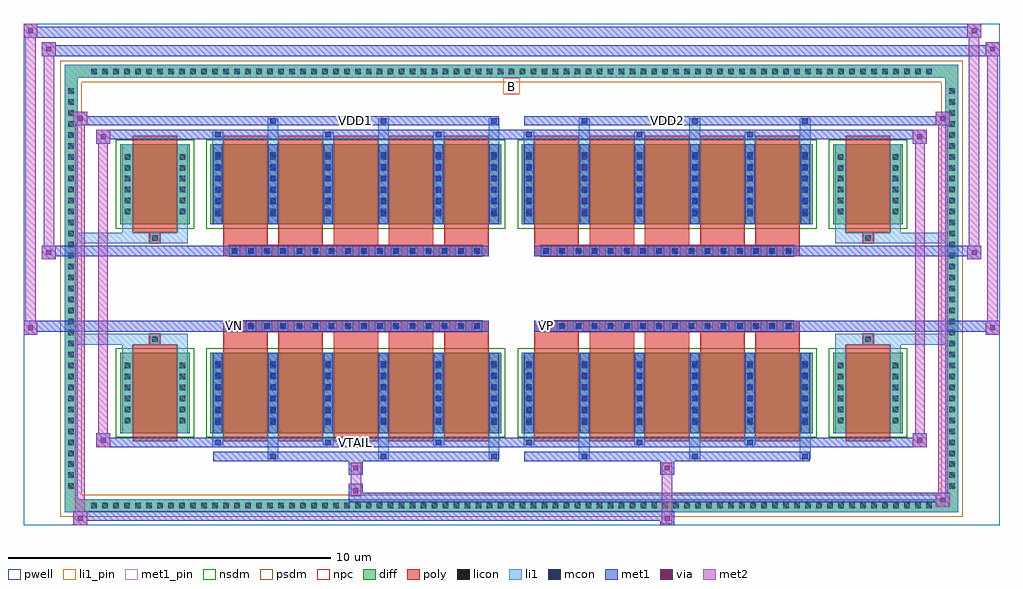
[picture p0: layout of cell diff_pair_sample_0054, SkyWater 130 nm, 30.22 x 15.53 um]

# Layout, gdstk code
import gdstk
lib = gdstk.Library(unit=1e-6, precision=5e-09)
def R(c, l, rs):  # rectangles x0, y0, x1, y1
    for r in rs: c.add(gdstk.rectangle(r[:2], r[2:], *l))
def A(c, l, x, y, w, h, nx, ny, dx, dy):  # array of equal rectangles
    R(c, l, [(x+i*dx, y+j*dy, x+i*dx+w, y+j*dy+h) for i in range(nx) for j in range(ny)])
def P(c, l, *ps):  # polygons
    for p in ps: c.add(gdstk.Polygon(p, *l))
pwell = (64, 44)
diff = (65, 20)
poly = (66, 20)
licon = (66, 44)
li1_pin = (67, 16)
li1 = (67, 20)
mcon = (67, 44)
met1_pin = (68, 16)
met1 = (68, 20)
via = (68, 44)
met2 = (69, 20)
nsdm = (93, 44)
psdm = (94, 20)
npc = (95, 20)

diff_pair_sample_0054 = lib.new_cell('diff_pair_sample_0054')
R(diff_pair_sample_0054, pwell, [(-15.11,-7.33,15.11,8.2), (-12.43,-5.52,-0.01,-0.8), (0.01,-5.52,12.43,-0.8), (-12.43,0.8,-0.01,5.52), (0.01,0.8,12.43,5.52)])
A(diff_pair_sample_0054, diff, -13.125, -6.93, 0.41, 0.41, 77, 2, 0.34, 13.45)
A(diff_pair_sample_0054, diff, -13.84, -6.325, 0.41, 0.41, 1, 37, 0, 0.34)
A(diff_pair_sample_0054, diff, 13.43, -6.325, 0.41, 0.41, 1, 37, 0, 0.34)
R(diff_pair_sample_0054, diff, [(-13.125,-6.93,13.125,-6.52), (-13.84,-6.325,-13.43,6.325), (13.43,-6.325,13.84,6.325), (-12.12,-4.475,-9.96,-1.985), (-9.32,-4.475,-0.32,-1.985), (0.32,-4.475,9.32,-1.985), (9.96,-4.475,12.12,-1.985), (-12.12,1.985,-9.96,4.475), (-9.32,1.985,-0.32,4.475), (0.32,1.985,9.32,4.475), (9.96,1.985,12.12,4.475), (-13.125,6.52,13.125,6.93)])
P(diff_pair_sample_0054, diff, [(13.84,6.93),(-13.84,6.93),(-13.84,-6.52),(-13.43,-6.52),(-13.43,6.52),(13.43,6.52),(13.43,-6.52),(-13.43,-6.52),(-13.84,-6.52),(-13.84,-6.93),(13.84,-6.93)])
A(diff_pair_sample_0054, poly, -8.93, -4.725, 1.38, 2.99, 5, 2, 1.71, 6.46)
A(diff_pair_sample_0054, poly, 0.71, -4.725, 1.38, 2.99, 5, 2, 1.71, 6.46)
A(diff_pair_sample_0054, poly, -8.93, -1.735, 1.38, 0.405, 5, 2, 1.71, 3.065)
A(diff_pair_sample_0054, poly, 0.71, -1.735, 1.38, 0.405, 5, 2, 1.71, 3.065)
A(diff_pair_sample_0054, poly, -8.735, -1.33, 0.33, 0.33, 16, 2, 0.5, 2.33)
A(diff_pair_sample_0054, poly, 0.905, -1.33, 0.33, 0.33, 16, 2, 0.5, 2.33)
R(diff_pair_sample_0054, poly, [(-11.73,-4.725,-10.35,-1.735), (10.35,-4.725,11.73,-1.735), (-11.205,-1.735,-10.875,-1.405), (-11.205,-1.735,-10.875,-1.405), (10.875,-1.735,11.205,-1.405), (10.875,-1.735,11.205,-1.405), (-8.93,-1.33,-0.71,-1), (0.71,-1.33,8.93,-1), (-8.93,1,-0.71,1.33), (0.71,1,8.93,1.33), (-11.205,1.405,-10.875,1.735), (-11.205,1.405,-10.875,1.735), (10.875,1.405,11.205,1.735), (10.875,1.405,11.205,1.735), (-11.73,1.735,-10.35,4.725), (10.35,1.735,11.73,4.725)])
A(diff_pair_sample_0054, licon, -13.005, -6.81, 0.17, 0.17, 77, 2, 0.34, 13.45)
A(diff_pair_sample_0054, licon, -13.72, -6.205, 0.17, 0.17, 1, 37, 0, 0.34)
A(diff_pair_sample_0054, licon, 13.55, -6.205, 0.17, 0.17, 1, 37, 0, 0.34)
A(diff_pair_sample_0054, licon, -11.98, -4.165, 0.17, 0.17, 1, 6, 0, 0.34)
A(diff_pair_sample_0054, licon, -10.27, -4.165, 0.17, 0.17, 1, 6, 0, 0.34)
A(diff_pair_sample_0054, licon, -9.18, -4.165, 0.17, 0.17, 6, 6, 1.71, 0.34)
A(diff_pair_sample_0054, licon, 0.46, -4.165, 0.17, 0.17, 6, 6, 1.71, 0.34)
A(diff_pair_sample_0054, licon, 10.1, -4.165, 0.17, 0.17, 1, 6, 0, 0.34)
A(diff_pair_sample_0054, licon, 11.81, -4.165, 0.17, 0.17, 1, 6, 0, 0.34)
A(diff_pair_sample_0054, licon, -8.655, -1.25, 0.17, 0.17, 16, 2, 0.5, 2.33)
A(diff_pair_sample_0054, licon, 0.985, -1.25, 0.17, 0.17, 16, 2, 0.5, 2.33)
A(diff_pair_sample_0054, licon, -11.98, 2.295, 0.17, 0.17, 1, 6, 0, 0.34)
A(diff_pair_sample_0054, licon, -10.27, 2.295, 0.17, 0.17, 1, 6, 0, 0.34)
A(diff_pair_sample_0054, licon, -9.18, 2.295, 0.17, 0.17, 6, 6, 1.71, 0.34)
A(diff_pair_sample_0054, licon, 0.46, 2.295, 0.17, 0.17, 6, 6, 1.71, 0.34)
A(diff_pair_sample_0054, licon, 10.1, 2.295, 0.17, 0.17, 1, 6, 0, 0.34)
A(diff_pair_sample_0054, licon, 11.81, 2.295, 0.17, 0.17, 1, 6, 0, 0.34)
R(diff_pair_sample_0054, licon, [(-11.125,-1.655,-10.955,-1.485), (10.955,-1.655,11.125,-1.485), (-11.125,1.485,-10.955,1.655), (10.955,1.485,11.125,1.655)])
R(diff_pair_sample_0054, li1_pin, [(-0.25,6.02,0.25,6.52)])
A(diff_pair_sample_0054, li1, -13.085, -6.89, 0.33, 0.33, 77, 2, 0.34, 13.45)
A(diff_pair_sample_0054, li1, -13.8, -6.285, 0.33, 0.33, 1, 37, 0, 0.34)
A(diff_pair_sample_0054, li1, 13.47, -6.285, 0.33, 0.33, 1, 37, 0, 0.34)
A(diff_pair_sample_0054, li1, -7.55, -5.28, 0.33, 0.805, 3, 2, 3.42, 9.755)
A(diff_pair_sample_0054, li1, -7.47, -5.28, 0.17, 0.17, 3, 2, 3.42, 10.39)
A(diff_pair_sample_0054, li1, 2.09, -5.28, 0.33, 0.805, 3, 2, 3.42, 9.755)
A(diff_pair_sample_0054, li1, 2.17, -5.28, 0.17, 0.17, 3, 2, 3.42, 10.39)
A(diff_pair_sample_0054, li1, -9.26, -4.85, 0.33, 0.375, 3, 2, 3.42, 9.325)
A(diff_pair_sample_0054, li1, -9.18, -4.85, 0.17, 0.17, 3, 2, 3.42, 9.53)
A(diff_pair_sample_0054, li1, 0.38, -4.85, 0.33, 0.375, 3, 2, 3.42, 9.325)
A(diff_pair_sample_0054, li1, 0.46, -4.85, 0.17, 0.17, 3, 2, 3.42, 9.53)
A(diff_pair_sample_0054, li1, -9.26, -4.475, 0.33, 2.49, 6, 2, 1.71, 6.46)
A(diff_pair_sample_0054, li1, 0.38, -4.475, 0.33, 2.49, 6, 2, 1.71, 6.46)
A(diff_pair_sample_0054, li1, -12.06, -4.245, 0.33, 0.33, 1, 6, 0, 0.34)
A(diff_pair_sample_0054, li1, -10.35, -4.245, 0.33, 0.33, 1, 6, 0, 0.34)
A(diff_pair_sample_0054, li1, -9.26, -4.245, 0.33, 0.33, 6, 6, 1.71, 0.34)
A(diff_pair_sample_0054, li1, 0.38, -4.245, 0.33, 0.33, 6, 6, 1.71, 0.34)
A(diff_pair_sample_0054, li1, 10.02, -4.245, 0.33, 0.33, 1, 6, 0, 0.34)
A(diff_pair_sample_0054, li1, 11.73, -4.245, 0.33, 0.33, 1, 6, 0, 0.34)
A(diff_pair_sample_0054, li1, -9.18, -4.215, 0.17, 0.17, 6, 6, 1.71, 0.36)
A(diff_pair_sample_0054, li1, -9.18, -4.215, 0.17, 1.97, 6, 2, 1.71, 6.46)
A(diff_pair_sample_0054, li1, 0.46, -4.215, 0.17, 0.17, 6, 6, 1.71, 0.36)
A(diff_pair_sample_0054, li1, 0.46, -4.215, 0.17, 1.97, 6, 2, 1.71, 6.46)
A(diff_pair_sample_0054, li1, -8.735, -1.33, 0.33, 0.33, 16, 2, 0.5, 2.33)
A(diff_pair_sample_0054, li1, 0.905, -1.33, 0.33, 0.33, 16, 2, 0.5, 2.33)
A(diff_pair_sample_0054, li1, -12.06, 2.215, 0.33, 0.33, 1, 6, 0, 0.34)
A(diff_pair_sample_0054, li1, -10.35, 2.215, 0.33, 0.33, 1, 6, 0, 0.34)
A(diff_pair_sample_0054, li1, -9.26, 2.215, 0.33, 0.33, 6, 6, 1.71, 0.34)
A(diff_pair_sample_0054, li1, 0.38, 2.215, 0.33, 0.33, 6, 6, 1.71, 0.34)
A(diff_pair_sample_0054, li1, 10.02, 2.215, 0.33, 0.33, 1, 6, 0, 0.34)
A(diff_pair_sample_0054, li1, 11.73, 2.215, 0.33, 0.33, 1, 6, 0, 0.34)
A(diff_pair_sample_0054, li1, -9.18, 2.245, 0.17, 0.17, 6, 6, 1.71, 0.36)
A(diff_pair_sample_0054, li1, 0.46, 2.245, 0.17, 0.17, 6, 6, 1.71, 0.36)
R(diff_pair_sample_0054, li1, [(-13.84,-6.93,-13.43,-6.52), (-13.84,-6.93,-13.43,-6.52), (-13.43,-6.93,13.43,-6.52), (13.43,-6.93,13.84,-6.52), (13.43,-6.93,13.84,-6.52), (-13.84,-6.52,-13.43,6.52), (13.43,-6.52,13.84,6.52), (-12.06,-4.475,-11.73,-1.985), (-10.35,-4.475,-10.02,-1.985), (10.02,-4.475,10.35,-1.985), (11.73,-4.475,12.06,-1.985), (-12.06,-1.985,-11.73,-1.405), (-10.35,-1.985,-10.02,-1.405), (10.02,-1.985,10.35,-1.405), (11.73,-1.985,12.06,-1.405), (-13.84,-1.735,-11.205,-1.405), (-12.06,-1.735,-11.205,-1.405), (-11.205,-1.735,-10.875,-1.405), (-10.875,-1.735,-10.02,-1.405), (10.02,-1.735,10.875,-1.405), (10.875,-1.735,11.205,-1.405), (10.875,-1.735,13.84,-1.405), (11.205,-1.735,12.06,-1.405), (-13.84,1.405,-11.205,1.735), (-12.06,1.405,-11.205,1.735), (-12.06,1.405,-11.73,1.985), (-11.205,1.405,-10.875,1.735), (-10.875,1.405,-10.02,1.735), (-10.35,1.405,-10.02,1.985), (10.02,1.405,10.875,1.735), (10.02,1.405,10.35,1.985), (10.875,1.405,11.205,1.735), (10.875,1.405,13.84,1.735), (11.205,1.405,12.06,1.735), (11.73,1.405,12.06,1.985), (-12.06,1.985,-11.73,4.475), (-10.35,1.985,-10.02,4.475), (10.02,1.985,10.35,4.475), (11.73,1.985,12.06,4.475), (-13.84,6.52,-13.43,6.93), (-13.84,6.52,-13.43,6.93), (-13.43,6.52,13.43,6.93), (13.43,6.52,13.84,6.93), (13.43,6.52,13.84,6.93)])
A(diff_pair_sample_0054, mcon, -7.47, -5.28, 0.17, 0.17, 3, 2, 3.42, 10.39)
A(diff_pair_sample_0054, mcon, 2.17, -5.28, 0.17, 0.17, 3, 2, 3.42, 10.39)
A(diff_pair_sample_0054, mcon, -9.18, -4.85, 0.17, 0.17, 3, 2, 3.42, 9.53)
A(diff_pair_sample_0054, mcon, 0.46, -4.85, 0.17, 0.17, 3, 2, 3.42, 9.53)
A(diff_pair_sample_0054, mcon, -9.18, -4.215, 0.17, 0.17, 6, 6, 1.71, 0.36)
A(diff_pair_sample_0054, mcon, 0.46, -4.215, 0.17, 0.17, 6, 6, 1.71, 0.36)
A(diff_pair_sample_0054, mcon, -8.655, -1.25, 0.17, 0.17, 16, 2, 0.5, 2.33)
A(diff_pair_sample_0054, mcon, 0.985, -1.25, 0.17, 0.17, 16, 2, 0.5, 2.33)
A(diff_pair_sample_0054, mcon, -9.18, 2.245, 0.17, 0.17, 6, 6, 1.71, 0.36)
A(diff_pair_sample_0054, mcon, 0.46, 2.245, 0.17, 0.17, 6, 6, 1.71, 0.36)
R(diff_pair_sample_0054, met1_pin, [(-4.955,-4.89,-4.685,-4.62), (-8.705,-1.29,-8.435,-1.02), (0.935,-1.29,1.205,-1.02), (-4.955,5.07,-4.685,5.34), (4.685,5.07,4.955,5.34)])
A(diff_pair_sample_0054, met1, -7.53, -5.34, 0.29, 0.29, 3, 2, 3.42, 10.39)
A(diff_pair_sample_0054, met1, 2.11, -5.34, 0.29, 0.29, 3, 2, 3.42, 10.39)
A(diff_pair_sample_0054, met1, -9.24, -4.91, 0.29, 0.29, 3, 2, 3.42, 9.53)
A(diff_pair_sample_0054, met1, 0.4, -4.91, 0.29, 0.29, 3, 2, 3.42, 9.53)
A(diff_pair_sample_0054, met1, -9.24, -4.475, 0.29, 2.49, 6, 2, 1.71, 6.46)
A(diff_pair_sample_0054, met1, 0.4, -4.475, 0.29, 2.49, 6, 2, 1.71, 6.46)
A(diff_pair_sample_0054, met1, -9.24, -4.275, 0.29, 0.29, 6, 6, 1.71, 0.36)
A(diff_pair_sample_0054, met1, 0.4, -4.275, 0.29, 0.29, 6, 6, 1.71, 0.36)
A(diff_pair_sample_0054, met1, -8.715, -1.31, 0.29, 0.29, 16, 2, 0.5, 2.33)
A(diff_pair_sample_0054, met1, 0.925, -1.31, 0.29, 0.29, 16, 2, 0.5, 2.33)
A(diff_pair_sample_0054, met1, -9.24, 2.185, 0.29, 0.29, 6, 6, 1.71, 0.36)
A(diff_pair_sample_0054, met1, 0.4, 2.185, 0.29, 0.29, 6, 6, 1.71, 0.36)
R(diff_pair_sample_0054, met1, [(-13.57,-7.33,-13.14,-6.9), (4.605,-7.33,5.035,-6.9), (-13.57,-7.19,5.035,-6.9), (13.14,-6.76,13.57,-6.33), (-5.035,-6.62,13.57,-6.33), (-5.035,-6.48,-4.605,-6.05), (-5.035,-5.77,-4.605,-5.34), (4.605,-5.77,5.035,-5.34), (-9.24,-5.34,-0.4,-5.05), (0.4,-5.34,9.24,-5.05), (-12.86,-4.91,-12.43,-4.48), (-12.86,-4.91,-9.24,-4.62), (-9.24,-4.91,-0.4,-4.62), (-0.4,-4.91,0.4,-4.62), (0.4,-4.91,9.24,-4.62), (9.24,-4.91,12.86,-4.62), (12.43,-4.91,12.86,-4.48), (-15.11,-1.43,-14.68,-1), (14.68,-1.43,15.11,-1), (-15.11,-1.33,-0.71,-1), (-8.93,-1.33,-0.71,-1), (0.71,-1.33,8.93,-1), (0.71,-1.33,15.11,-1), (-14.54,0.9,-14.11,1.33), (14.11,0.9,14.54,1.33), (-14.54,1,-8.93,1.33), (-8.93,1,-0.71,1.33), (0.71,1,8.93,1.33), (8.93,1,14.54,1.33), (-12.86,4.48,-12.43,4.91), (12.43,4.48,12.86,4.91), (-12.86,4.62,-9.24,4.91), (-9.24,4.62,-0.4,4.91), (-0.4,4.62,0.4,4.91), (0.4,4.62,9.24,4.91), (9.24,4.62,12.86,4.91), (-13.57,5.05,-13.14,5.48), (-13.57,5.05,-9.24,5.34), (-9.24,5.05,-0.4,5.34), (0.4,5.05,9.24,5.34), (9.24,5.05,13.57,5.34), (13.14,5.05,13.57,5.48), (-14.54,7.2,-14.11,7.63), (-14.54,7.2,-12.43,7.53), (-12.43,7.2,12.43,7.53), (12.43,7.2,15.11,7.53), (14.68,7.2,15.11,7.63), (-15.11,7.77,-14.68,8.2), (-15.11,7.77,-12.43,8.1), (-12.43,7.77,12.43,8.1), (12.43,7.77,14.54,8.1), (14.11,7.77,14.54,8.2)])
R(diff_pair_sample_0054, via, [(-13.43,-7.19,-13.28,-7.04), (4.745,-7.19,4.895,-7.04), (13.28,-6.62,13.43,-6.47), (-4.895,-6.34,-4.745,-6.19), (-4.895,-5.63,-4.745,-5.48), (4.745,-5.63,4.895,-5.48), (-12.72,-4.77,-12.57,-4.62), (12.57,-4.77,12.72,-4.62), (-14.97,-1.29,-14.82,-1.14), (14.82,-1.29,14.97,-1.14), (-14.4,1.04,-14.25,1.19), (14.25,1.04,14.4,1.19), (-12.72,4.62,-12.57,4.77), (12.57,4.62,12.72,4.77), (-13.43,5.19,-13.28,5.34), (13.28,5.19,13.43,5.34), (-14.4,7.34,-14.25,7.49), (14.82,7.34,14.97,7.49), (-14.97,7.91,-14.82,8.06), (14.25,7.91,14.4,8.06)])
R(diff_pair_sample_0054, met2, [(-13.57,-7.33,-13.14,-6.9), (-13.5,-7.33,-13.21,5.48), (-13.21,-7.33,-13.14,-6.9), (-13.52,-7.28,-13.19,-6.95), (4.655,-7.28,4.985,-6.95), (4.655,-6.95,4.985,-5.72), (13.14,-6.76,13.57,-6.33), (13.21,-6.76,13.5,5.48), (13.5,-6.76,13.57,-6.33), (13.19,-6.71,13.52,-6.38), (-4.985,-6.43,-4.655,-6.1), (-4.985,-6.1,-4.655,-5.72), (-4.985,-5.72,-4.655,-5.39), (4.655,-5.72,4.985,-5.39), (-12.86,-4.91,-12.43,-4.48), (-12.79,-4.91,-12.5,4.91), (-12.5,-4.91,-12.43,-4.48), (12.43,-4.91,12.86,-4.48), (12.5,-4.91,12.79,4.91), (12.79,-4.91,12.86,-4.48), (-12.81,-4.86,-12.48,-4.53), (12.48,-4.86,12.81,-4.53), (-15.11,-1.43,-14.68,-1), (-15.06,-1.43,-14.73,8.2), (-14.73,-1.43,-14.68,-1), (14.68,-1.43,15.11,-1), (14.73,-1.43,15.06,7.63), (15.06,-1.43,15.11,-1), (-15.06,-1.38,-14.73,-1.05), (14.73,-1.38,15.06,-1.05), (-14.54,0.9,-14.11,1.33), (-14.49,0.9,-14.16,7.63), (-14.16,0.9,-14.11,1.33), (14.11,0.9,14.54,1.33), (14.16,0.9,14.49,8.2), (14.49,0.9,14.54,1.33), (-14.49,0.95,-14.16,1.28), (14.16,0.95,14.49,1.28), (-12.86,4.48,-12.43,4.91), (-12.5,4.48,-12.43,4.91), (12.43,4.48,12.86,4.91), (12.79,4.48,12.86,4.91), (-12.81,4.53,-12.48,4.86), (12.48,4.53,12.81,4.86), (-13.57,5.05,-13.14,5.48), (-13.21,5.05,-13.14,5.48), (13.14,5.05,13.57,5.48), (13.5,5.05,13.57,5.48), (-13.52,5.1,-13.19,5.43), (13.19,5.1,13.52,5.43), (-14.54,7.2,-14.11,7.63), (-14.16,7.2,-14.11,7.63), (14.68,7.2,15.11,7.63), (15.06,7.2,15.11,7.63), (-14.49,7.25,-14.16,7.58), (14.73,7.25,15.06,7.58), (-15.11,7.77,-14.68,8.2), (-14.73,7.77,-14.68,8.2), (14.11,7.77,14.54,8.2), (14.49,7.77,14.54,8.2), (-15.06,7.82,-14.73,8.15), (14.16,7.82,14.49,8.15)])
R(diff_pair_sample_0054, nsdm, [(-12.25,-4.605,-9.83,-1.855), (-9.45,-4.605,-0.19,-1.855), (0.19,-4.605,9.45,-1.855), (9.83,-4.605,12.25,-1.855), (-12.25,1.855,-9.83,4.605), (-9.45,1.855,-0.19,4.605), (0.19,1.855,9.45,4.605), (9.83,1.855,12.25,4.605)])
P(diff_pair_sample_0054, psdm, [(13.97,7.06),(-13.97,7.06),(-13.97,-6.39),(-13.3,-6.39),(-13.3,6.39),(13.3,6.39),(13.3,-6.39),(-13.3,-6.39),(-13.97,-6.39),(-13.97,-7.06),(13.97,-7.06)])
A(diff_pair_sample_0054, npc, -8.755, -1.35, 0.37, 0.37, 16, 2, 0.5, 2.33)
A(diff_pair_sample_0054, npc, 0.885, -1.35, 0.37, 0.37, 16, 2, 0.5, 2.33)
R(diff_pair_sample_0054, npc, [(-11.225,-1.755,-10.855,-1.385), (10.855,-1.755,11.225,-1.385), (-8.755,-1.35,-7.885,-0.98), (-8.755,-1.35,-7.885,-0.98), (-8.255,-1.35,-7.385,-0.98), (-8.255,-1.35,-7.385,-0.98), (-7.755,-1.35,-6.885,-0.98), (-7.755,-1.35,-6.885,-0.98), (-7.255,-1.35,-6.385,-0.98), (-7.255,-1.35,-6.385,-0.98), (-6.755,-1.35,-5.885,-0.98), (-6.755,-1.35,-5.885,-0.98), (-6.255,-1.35,-5.385,-0.98), (-6.255,-1.35,-5.385,-0.98), (-5.755,-1.35,-4.885,-0.98), (-5.755,-1.35,-4.885,-0.98), (-5.255,-1.35,-4.385,-0.98), (-5.255,-1.35,-4.385,-0.98), (-4.755,-1.35,-3.885,-0.98), (-4.755,-1.35,-3.885,-0.98), (-4.255,-1.35,-3.385,-0.98), (-4.255,-1.35,-3.385,-0.98), (-3.755,-1.35,-2.885,-0.98), (-3.755,-1.35,-2.885,-0.98), (-3.255,-1.35,-2.385,-0.98), (-3.255,-1.35,-2.385,-0.98), (-2.755,-1.35,-1.885,-0.98), (-2.755,-1.35,-1.885,-0.98), (-2.255,-1.35,-1.385,-0.98), (-2.255,-1.35,-1.385,-0.98), (-1.755,-1.35,-0.885,-0.98), (-1.755,-1.35,-0.885,-0.98), (0.885,-1.35,1.755,-0.98), (0.885,-1.35,1.755,-0.98), (1.385,-1.35,2.255,-0.98), (1.385,-1.35,2.255,-0.98), (1.885,-1.35,2.755,-0.98), (1.885,-1.35,2.755,-0.98), (2.385,-1.35,3.255,-0.98), (2.385,-1.35,3.255,-0.98), (2.885,-1.35,3.755,-0.98), (2.885,-1.35,3.755,-0.98), (3.385,-1.35,4.255,-0.98), (3.385,-1.35,4.255,-0.98), (3.885,-1.35,4.755,-0.98), (3.885,-1.35,4.755,-0.98), (4.385,-1.35,5.255,-0.98), (4.385,-1.35,5.255,-0.98), (4.885,-1.35,5.755,-0.98), (4.885,-1.35,5.755,-0.98), (5.385,-1.35,6.255,-0.98), (5.385,-1.35,6.255,-0.98), (5.885,-1.35,6.755,-0.98), (5.885,-1.35,6.755,-0.98), (6.385,-1.35,7.255,-0.98), (6.385,-1.35,7.255,-0.98), (6.885,-1.35,7.755,-0.98), (6.885,-1.35,7.755,-0.98), (7.385,-1.35,8.255,-0.98), (7.385,-1.35,8.255,-0.98), (7.885,-1.35,8.755,-0.98), (7.885,-1.35,8.755,-0.98), (-8.755,0.98,-7.885,1.35), (-8.755,0.98,-7.885,1.35), (-8.255,0.98,-7.385,1.35), (-8.255,0.98,-7.385,1.35), (-7.755,0.98,-6.885,1.35), (-7.755,0.98,-6.885,1.35), (-7.255,0.98,-6.385,1.35), (-7.255,0.98,-6.385,1.35), (-6.755,0.98,-5.885,1.35), (-6.755,0.98,-5.885,1.35), (-6.255,0.98,-5.385,1.35), (-6.255,0.98,-5.385,1.35), (-5.755,0.98,-4.885,1.35), (-5.755,0.98,-4.885,1.35), (-5.255,0.98,-4.385,1.35), (-5.255,0.98,-4.385,1.35), (-4.755,0.98,-3.885,1.35), (-4.755,0.98,-3.885,1.35), (-4.255,0.98,-3.385,1.35), (-4.255,0.98,-3.385,1.35), (-3.755,0.98,-2.885,1.35), (-3.755,0.98,-2.885,1.35), (-3.255,0.98,-2.385,1.35), (-3.255,0.98,-2.385,1.35), (-2.755,0.98,-1.885,1.35), (-2.755,0.98,-1.885,1.35), (-2.255,0.98,-1.385,1.35), (-2.255,0.98,-1.385,1.35), (-1.755,0.98,-0.885,1.35), (-1.755,0.98,-0.885,1.35), (0.885,0.98,1.755,1.35), (0.885,0.98,1.755,1.35), (1.385,0.98,2.255,1.35), (1.385,0.98,2.255,1.35), (1.885,0.98,2.755,1.35), (1.885,0.98,2.755,1.35), (2.385,0.98,3.255,1.35), (2.385,0.98,3.255,1.35), (2.885,0.98,3.755,1.35), (2.885,0.98,3.755,1.35), (3.385,0.98,4.255,1.35), (3.385,0.98,4.255,1.35), (3.885,0.98,4.755,1.35), (3.885,0.98,4.755,1.35), (4.385,0.98,5.255,1.35), (4.385,0.98,5.255,1.35), (4.885,0.98,5.755,1.35), (4.885,0.98,5.755,1.35), (5.385,0.98,6.255,1.35), (5.385,0.98,6.255,1.35), (5.885,0.98,6.755,1.35), (5.885,0.98,6.755,1.35), (6.385,0.98,7.255,1.35), (6.385,0.98,7.255,1.35), (6.885,0.98,7.755,1.35), (6.885,0.98,7.755,1.35), (7.385,0.98,8.255,1.35), (7.385,0.98,8.255,1.35), (7.885,0.98,8.755,1.35), (7.885,0.98,8.755,1.35), (-11.225,1.385,-10.855,1.755), (10.855,1.385,11.225,1.755)])
diff_pair_sample_0054.add(gdstk.Label('VTAIL', (-4.82,-4.755), layer=68, texttype=5))
diff_pair_sample_0054.add(gdstk.Label('VN', (-8.57,-1.155), layer=68, texttype=5))
diff_pair_sample_0054.add(gdstk.Label('VP', (1.07,-1.155), layer=68, texttype=5))
diff_pair_sample_0054.add(gdstk.Label('B', (0,6.27), layer=67, texttype=5))
diff_pair_sample_0054.add(gdstk.Label('VDD2', (4.82,5.205), layer=68, texttype=5))
diff_pair_sample_0054.add(gdstk.Label('VDD1', (-4.82,5.205), layer=68, texttype=5))

lib.write_gds('diff_pair_sample_0054.gds')
